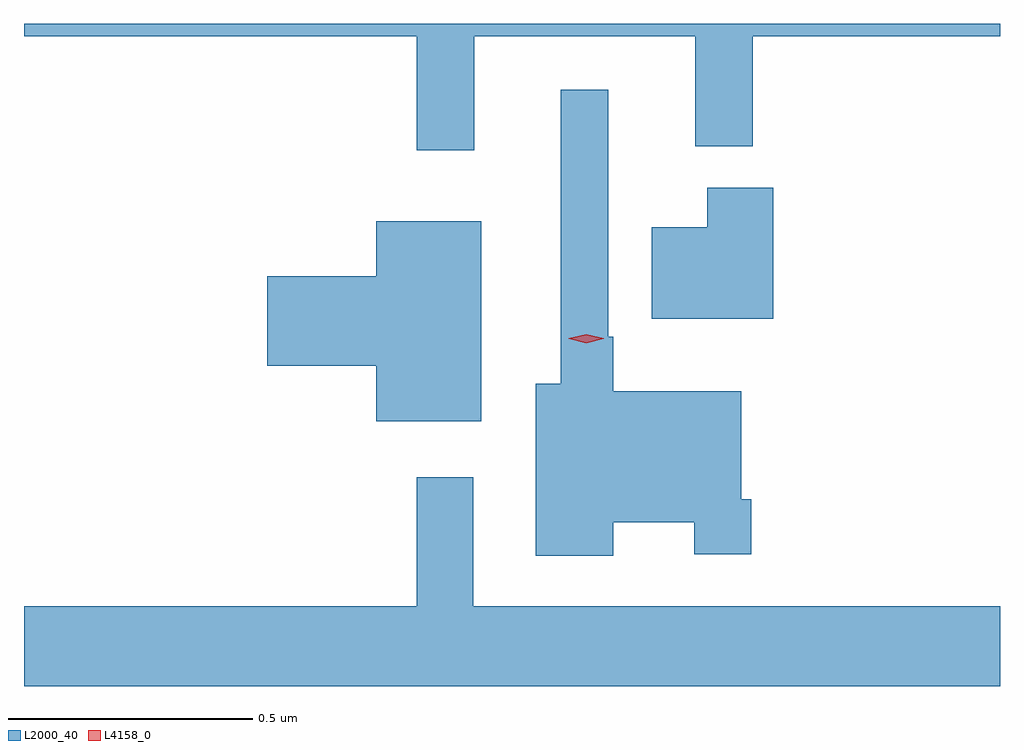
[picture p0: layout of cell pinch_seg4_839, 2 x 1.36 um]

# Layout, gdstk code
import gdstk
lib = gdstk.Library(unit=1e-6, precision=1e-09)
def P(c, l, *ps):  # polygons
    for p in ps: c.add(gdstk.Polygon(p, *l))
L2000_40 = (2000, 40)
L4158_0 = (4158, 0)

pinch_seg4_839 = lib.new_cell('pinch_seg4_839')
P(pinch_seg4_839, L2000_40, [(822.011,792.824),(822.464,792.824),(822.464,792.599),(822.581,792.599),(822.581,792.824),(823.088,792.824),(823.088,792.85),(821.088,792.85),(821.088,792.824),(821.893,792.824),(821.893,792.591),(822.011,792.591)],
  [(822.295,791.828),(822.461,791.828),(822.461,791.763),(822.578,791.763),(822.578,791.875),(822.558,791.875),(822.558,792.097),(822.295,792.097),(822.295,792.208),(822.285,792.208),(822.285,792.715),(822.188,792.715),(822.188,792.112),(822.137,792.112),(822.137,791.76),(822.295,791.76)],
  [(822.623,792.514),(822.488,792.514),(822.488,792.433),(822.374,792.433),(822.374,792.245),(822.623,792.245)],
  [(822.025,792.445),(821.81,792.445),(821.81,792.332),(821.586,792.332),(821.586,792.149),(821.81,792.149),(821.81,792.035),(822.025,792.035)],
  [(823.088,791.656),(822.009,791.656),(822.009,791.92),(821.893,791.92),(821.893,791.656),(821.088,791.656),(821.088,791.492),(823.088,791.492)])
P(pinch_seg4_839, L4158_0, [(822.24,792.195),(822.204,792.204),(822.204,792.205),(822.204,792.205),(822.24,792.214),(822.276,792.205),(822.276,792.204),(822.276,792.204)])

lib.write_gds('pinch_seg4_839.gds')
